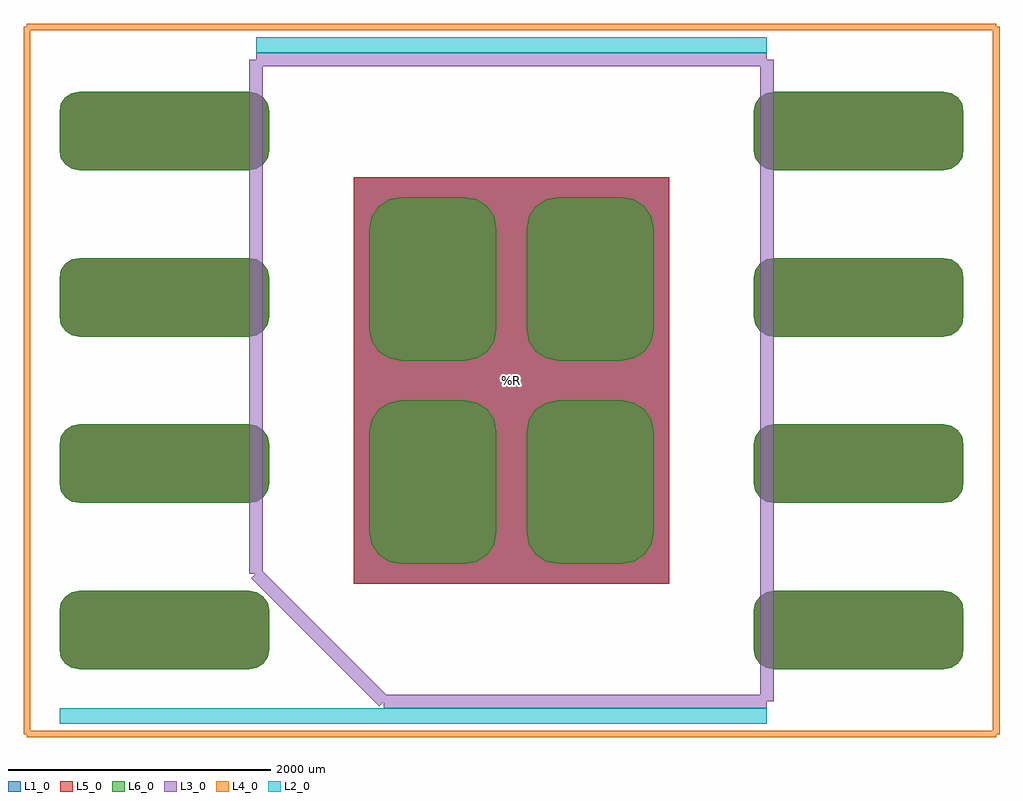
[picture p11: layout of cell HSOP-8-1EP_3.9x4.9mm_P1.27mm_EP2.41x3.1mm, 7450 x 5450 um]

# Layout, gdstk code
import gdstk
lib = gdstk.Library(unit=1e-6, precision=1e-09)
def R(c, l, rs):  # rectangles x0, y0, x1, y1
    for r in rs: c.add(gdstk.rectangle(r[:2], r[2:], *l))
def P(c, l, *ps):  # polygons
    for p in ps: c.add(gdstk.Polygon(p, *l))
L1_0 = (1, 0)
L2_0 = (2, 0)
L3_0 = (3, 0)
L4_0 = (4, 0)
L5_0 = (5, 0)
L6_0 = (6, 0)

hsop_8_1ep_3_9x4_9mm_p1_ = lib.new_cell('HSOP-8-1EP_3.9x4.9mm_P1.27mm_EP2.41x3.1mm')
R(hsop_8_1ep_3_9x4_9mm_p1_, L1_0, [(-1205,-1550,1205,1550)])
P(hsop_8_1ep_3_9x4_9mm_p1_, L1_0, [(-2000,-2205),(-1943,-2194),(-1894,-2161),(-1861,-2112),(-1850,-2055),(-1850,-1755),(-1861,-1698),(-1894,-1649),(-1943,-1616),(-2000,-1605),(-3300,-1605),(-3357,-1616),(-3406,-1649),(-3439,-1698),(-3450,-1755),(-3450,-2055),(-3439,-2112),(-3406,-2161),(-3357,-2194),(-3300,-2205)],
  [(-2000,-935),(-1943,-924),(-1894,-891),(-1861,-842),(-1850,-785),(-1850,-485),(-1861,-428),(-1894,-379),(-1943,-346),(-2000,-335),(-3300,-335),(-3357,-346),(-3406,-379),(-3439,-428),(-3450,-485),(-3450,-785),(-3439,-842),(-3406,-891),(-3357,-924),(-3300,-935)],
  [(-2000,335),(-1943,346),(-1894,379),(-1861,428),(-1850,485),(-1850,785),(-1861,842),(-1894,891),(-1943,924),(-2000,935),(-3300,935),(-3357,924),(-3406,891),(-3439,842),(-3450,785),(-3450,485),(-3439,428),(-3406,379),(-3357,346),(-3300,335)],
  [(-2000,1605),(-1943,1616),(-1894,1649),(-1861,1698),(-1850,1755),(-1850,2055),(-1861,2112),(-1894,2161),(-1943,2194),(-2000,2205),(-3300,2205),(-3357,2194),(-3406,2161),(-3439,2112),(-3450,2055),(-3450,1755),(-3439,1698),(-3406,1649),(-3357,1616),(-3300,1605)],
  [(3300,1605),(3357,1616),(3406,1649),(3439,1698),(3450,1755),(3450,2055),(3439,2112),(3406,2161),(3357,2194),(3300,2205),(2000,2205),(1943,2194),(1894,2161),(1861,2112),(1850,2055),(1850,1755),(1861,1698),(1894,1649),(1943,1616),(2000,1605)],
  [(3300,335),(3357,346),(3406,379),(3439,428),(3450,485),(3450,785),(3439,842),(3406,891),(3357,924),(3300,935),(2000,935),(1943,924),(1894,891),(1861,842),(1850,785),(1850,485),(1861,428),(1894,379),(1943,346),(2000,335)],
  [(3300,-935),(3357,-924),(3406,-891),(3439,-842),(3450,-785),(3450,-485),(3439,-428),(3406,-379),(3357,-346),(3300,-335),(2000,-335),(1943,-346),(1894,-379),(1861,-428),(1850,-485),(1850,-785),(1861,-842),(1894,-891),(1943,-924),(2000,-935)],
  [(3300,-2205),(3357,-2194),(3406,-2161),(3439,-2112),(3450,-2055),(3450,-1755),(3439,-1698),(3406,-1649),(3357,-1616),(3300,-1605),(2000,-1605),(1943,-1616),(1894,-1649),(1861,-1698),(1850,-1755),(1850,-2055),(1861,-2112),(1894,-2161),(1943,-2194),(2000,-2205)])
R(hsop_8_1ep_3_9x4_9mm_p1_, L5_0, [(-1205,-1550,1205,1550)])
P(hsop_8_1ep_3_9x4_9mm_p1_, L5_0, [(-2000,-2205),(-1943,-2194),(-1894,-2161),(-1861,-2112),(-1850,-2055),(-1850,-1755),(-1861,-1698),(-1894,-1649),(-1943,-1616),(-2000,-1605),(-3300,-1605),(-3357,-1616),(-3406,-1649),(-3439,-1698),(-3450,-1755),(-3450,-2055),(-3439,-2112),(-3406,-2161),(-3357,-2194),(-3300,-2205)],
  [(-2000,-935),(-1943,-924),(-1894,-891),(-1861,-842),(-1850,-785),(-1850,-485),(-1861,-428),(-1894,-379),(-1943,-346),(-2000,-335),(-3300,-335),(-3357,-346),(-3406,-379),(-3439,-428),(-3450,-485),(-3450,-785),(-3439,-842),(-3406,-891),(-3357,-924),(-3300,-935)],
  [(-2000,335),(-1943,346),(-1894,379),(-1861,428),(-1850,485),(-1850,785),(-1861,842),(-1894,891),(-1943,924),(-2000,935),(-3300,935),(-3357,924),(-3406,891),(-3439,842),(-3450,785),(-3450,485),(-3439,428),(-3406,379),(-3357,346),(-3300,335)],
  [(-2000,1605),(-1943,1616),(-1894,1649),(-1861,1698),(-1850,1755),(-1850,2055),(-1861,2112),(-1894,2161),(-1943,2194),(-2000,2205),(-3300,2205),(-3357,2194),(-3406,2161),(-3439,2112),(-3450,2055),(-3450,1755),(-3439,1698),(-3406,1649),(-3357,1616),(-3300,1605)],
  [(3300,1605),(3357,1616),(3406,1649),(3439,1698),(3450,1755),(3450,2055),(3439,2112),(3406,2161),(3357,2194),(3300,2205),(2000,2205),(1943,2194),(1894,2161),(1861,2112),(1850,2055),(1850,1755),(1861,1698),(1894,1649),(1943,1616),(2000,1605)],
  [(3300,335),(3357,346),(3406,379),(3439,428),(3450,485),(3450,785),(3439,842),(3406,891),(3357,924),(3300,935),(2000,935),(1943,924),(1894,891),(1861,842),(1850,785),(1850,485),(1861,428),(1894,379),(1943,346),(2000,335)],
  [(3300,-935),(3357,-924),(3406,-891),(3439,-842),(3450,-785),(3450,-485),(3439,-428),(3406,-379),(3357,-346),(3300,-335),(2000,-335),(1943,-346),(1894,-379),(1861,-428),(1850,-485),(1850,-785),(1861,-842),(1894,-891),(1943,-924),(2000,-935)],
  [(3300,-2205),(3357,-2194),(3406,-2161),(3439,-2112),(3450,-2055),(3450,-1755),(3439,-1698),(3406,-1649),(3357,-1616),(3300,-1605),(2000,-1605),(1943,-1616),(1894,-1649),(1861,-1698),(1850,-1755),(1850,-2055),(1861,-2112),(1894,-2161),(1943,-2194),(2000,-2205)])
P(hsop_8_1ep_3_9x4_9mm_p1_, L6_0, [(-2000,-2205),(-1943,-2194),(-1894,-2161),(-1861,-2112),(-1850,-2055),(-1850,-1755),(-1861,-1698),(-1894,-1649),(-1943,-1616),(-2000,-1605),(-3300,-1605),(-3357,-1616),(-3406,-1649),(-3439,-1698),(-3450,-1755),(-3450,-2055),(-3439,-2112),(-3406,-2161),(-3357,-2194),(-3300,-2205)],
  [(-2000,-935),(-1943,-924),(-1894,-891),(-1861,-842),(-1850,-785),(-1850,-485),(-1861,-428),(-1894,-379),(-1943,-346),(-2000,-335),(-3300,-335),(-3357,-346),(-3406,-379),(-3439,-428),(-3450,-485),(-3450,-785),(-3439,-842),(-3406,-891),(-3357,-924),(-3300,-935)],
  [(-2000,335),(-1943,346),(-1894,379),(-1861,428),(-1850,485),(-1850,785),(-1861,842),(-1894,891),(-1943,924),(-2000,935),(-3300,935),(-3357,924),(-3406,891),(-3439,842),(-3450,785),(-3450,485),(-3439,428),(-3406,379),(-3357,346),(-3300,335)],
  [(-2000,1605),(-1943,1616),(-1894,1649),(-1861,1698),(-1850,1755),(-1850,2055),(-1861,2112),(-1894,2161),(-1943,2194),(-2000,2205),(-3300,2205),(-3357,2194),(-3406,2161),(-3439,2112),(-3450,2055),(-3450,1755),(-3439,1698),(-3406,1649),(-3357,1616),(-3300,1605)],
  [(3300,1605),(3357,1616),(3406,1649),(3439,1698),(3450,1755),(3450,2055),(3439,2112),(3406,2161),(3357,2194),(3300,2205),(2000,2205),(1943,2194),(1894,2161),(1861,2112),(1850,2055),(1850,1755),(1861,1698),(1894,1649),(1943,1616),(2000,1605)],
  [(3300,335),(3357,346),(3406,379),(3439,428),(3450,485),(3450,785),(3439,842),(3406,891),(3357,924),(3300,935),(2000,935),(1943,924),(1894,891),(1861,842),(1850,785),(1850,485),(1861,428),(1894,379),(1943,346),(2000,335)],
  [(3300,-935),(3357,-924),(3406,-891),(3439,-842),(3450,-785),(3450,-485),(3439,-428),(3406,-379),(3357,-346),(3300,-335),(2000,-335),(1943,-346),(1894,-379),(1861,-428),(1850,-485),(1850,-785),(1861,-842),(1894,-891),(1943,-924),(2000,-935)],
  [(3300,-2205),(3357,-2194),(3406,-2161),(3439,-2112),(3450,-2055),(3450,-1755),(3439,-1698),(3406,-1649),(3357,-1616),(3300,-1605),(2000,-1605),(1943,-1616),(1894,-1649),(1861,-1698),(1850,-1755),(1850,-2055),(1861,-2112),(1894,-2161),(1943,-2194),(2000,-2205)],
  [(-357,-1400),(-265,-1382),(-186,-1329),(-133,-1250),(-115,-1158),(-115,-392),(-133,-300),(-186,-221),(-265,-168),(-357,-150),(-842,-150),(-935,-168),(-1014,-221),(-1067,-300),(-1085,-392),(-1085,-1158),(-1067,-1250),(-1014,-1329),(-935,-1382),(-842,-1400)],
  [(-357,150),(-265,168),(-186,221),(-133,300),(-115,392),(-115,1158),(-133,1250),(-186,1329),(-265,1382),(-357,1400),(-842,1400),(-935,1382),(-1014,1329),(-1067,1250),(-1085,1158),(-1085,393),(-1067,300),(-1014,221),(-935,168),(-842,150)],
  [(842,-1400),(935,-1382),(1014,-1329),(1067,-1250),(1085,-1158),(1085,-392),(1067,-300),(1014,-221),(935,-168),(842,-150),(358,-150),(265,-168),(186,-221),(133,-300),(115,-392),(115,-1158),(133,-1250),(186,-1329),(265,-1382),(357,-1400)],
  [(842,150),(935,168),(1014,221),(1067,300),(1085,392),(1085,1158),(1067,1250),(1014,1329),(935,1382),(842,1400),(358,1400),(265,1382),(186,1329),(133,1250),(115,1158),(115,393),(133,300),(186,221),(265,168),(357,150)])
hsop_8_1ep_3_9x4_9mm_p1_.add(gdstk.FlexPath([(0,2560),(1950,2560)], 120, ends="flush", simple_path=True, layer=2, datatype=0))  # L2_0
hsop_8_1ep_3_9x4_9mm_p1_.add(gdstk.FlexPath([(0,2560),(-1950,2560)], 120, ends="flush", simple_path=True, layer=2, datatype=0))  # L2_0
hsop_8_1ep_3_9x4_9mm_p1_.add(gdstk.FlexPath([(0,-2560),(1950,-2560)], 120, ends="flush", simple_path=True, layer=2, datatype=0))  # L2_0
hsop_8_1ep_3_9x4_9mm_p1_.add(gdstk.FlexPath([(0,-2560),(-3450,-2560)], 120, ends="flush", simple_path=True, layer=2, datatype=0))  # L2_0
hsop_8_1ep_3_9x4_9mm_p1_.add(gdstk.FlexPath([(-975,-2450),(1950,-2450)], 100, ends="flush", simple_path=True, layer=3, datatype=0))  # L3_0
hsop_8_1ep_3_9x4_9mm_p1_.add(gdstk.FlexPath([(1950,-2450),(1950,2450)], 100, ends="flush", simple_path=True, layer=3, datatype=0))  # L3_0
hsop_8_1ep_3_9x4_9mm_p1_.add(gdstk.FlexPath([(1950,2450),(-1950,2450)], 100, ends="flush", simple_path=True, layer=3, datatype=0))  # L3_0
hsop_8_1ep_3_9x4_9mm_p1_.add(gdstk.FlexPath([(-1950,2450),(-1950,-1475)], 100, ends="flush", simple_path=True, layer=3, datatype=0))  # L3_0
hsop_8_1ep_3_9x4_9mm_p1_.add(gdstk.FlexPath([(-1950,-1475),(-975,-2450)], 100, ends="flush", simple_path=True, layer=3, datatype=0))  # L3_0
hsop_8_1ep_3_9x4_9mm_p1_.add(gdstk.FlexPath([(-3700,-2700),(-3700,2700)], 50, ends="flush", simple_path=True, layer=4, datatype=0))  # L4_0
hsop_8_1ep_3_9x4_9mm_p1_.add(gdstk.FlexPath([(-3700,2700),(3700,2700)], 50, ends="flush", simple_path=True, layer=4, datatype=0))  # L4_0
hsop_8_1ep_3_9x4_9mm_p1_.add(gdstk.FlexPath([(3700,2700),(3700,-2700)], 50, ends="flush", simple_path=True, layer=4, datatype=0))  # L4_0
hsop_8_1ep_3_9x4_9mm_p1_.add(gdstk.FlexPath([(3700,-2700),(-3700,-2700)], 50, ends="flush", simple_path=True, layer=4, datatype=0))  # L4_0
hsop_8_1ep_3_9x4_9mm_p1_.add(gdstk.Label('REF**', (0,-3400), layer=2, texttype=0))
hsop_8_1ep_3_9x4_9mm_p1_.add(gdstk.Label('HSOP-8-1EP_3.9x4.9mm_P1.27mm_EP2.41x3.1mm', (0,3400), layer=3, texttype=0))
hsop_8_1ep_3_9x4_9mm_p1_.add(gdstk.Label('%R', (0,0), layer=3, texttype=0))

lib.write_gds('HSOP-8-1EP_3.9x4.9mm_P1.27mm_EP2.41x3.1mm.gds')
